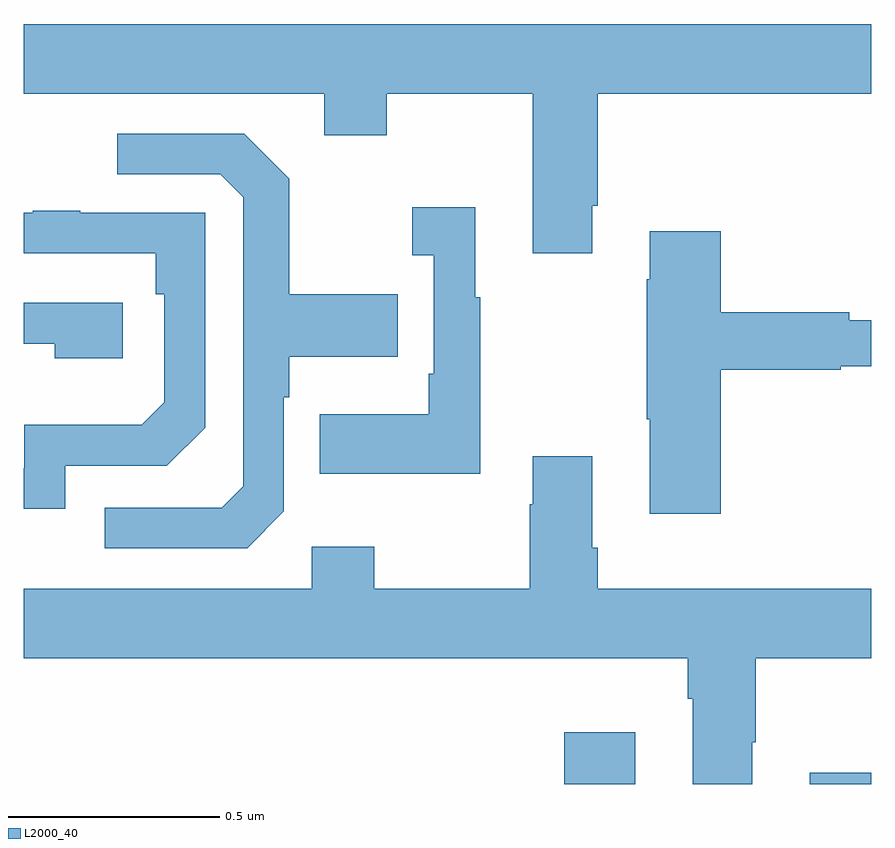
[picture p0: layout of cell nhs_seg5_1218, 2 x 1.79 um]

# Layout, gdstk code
import gdstk
lib = gdstk.Library(unit=1e-6, precision=1e-09)
def R(c, l, rs):  # rectangles x0, y0, x1, y1
    for r in rs: c.add(gdstk.rectangle(r[:2], r[2:], *l))
def P(c, l, *ps):  # polygons
    for p in ps: c.add(gdstk.Polygon(p, *l))
L2000_40 = (2000, 40)

nhs_seg5_1218 = lib.new_cell('nhs_seg5_1218')
R(nhs_seg5_1218, L2000_40, [(128.276,853.799,128.443,853.921), (128.855,853.799,129,853.825)])
P(nhs_seg5_1218, L2000_40, [(128.341,855.163),(128.354,855.163),(128.354,855.428),(129,855.428),(129,855.592),(127,855.592),(127,855.428),(127.709,855.428),(127.709,855.329),(127.857,855.329),(127.857,855.428),(128.201,855.428),(128.201,855.051),(128.341,855.051)],
  [(127.614,854.442),(127.614,854.711),(127.627,854.711),(127.627,854.807),(127.883,854.807),(127.883,854.955),(127.627,854.955),(127.627,855.227),(127.521,855.333),(127.221,855.333),(127.221,855.237),(127.464,855.237),(127.518,855.183),(127.518,854.502),(127.467,854.451),(127.191,854.451),(127.191,854.355),(127.527,854.355)],
  [(128.077,854.947),(128.065,854.947),(128.065,855.16),(127.917,855.16),(127.917,855.047),(127.968,855.047),(127.968,854.767),(127.956,854.767),(127.956,854.671),(127.699,854.671),(127.699,854.531),(128.077,854.531)],
  [(127.098,854.55),(127.338,854.55),(127.428,854.64),(127.428,855.147),(127.133,855.147),(127.133,855.152),(127.021,855.152),(127.021,855.147),(127,855.147),(127,855.051),(127.312,855.051),(127.312,854.954),(127.332,854.954),(127.332,854.7),(127.279,854.647),(127.002,854.647),(127.002,854.544),(127,854.544),(127,854.448),(127.098,854.448)],
  [(128.645,854.776),(128.928,854.776),(128.928,854.784),(129,854.784),(129,854.893),(128.948,854.893),(128.948,854.912),(128.645,854.912),(128.645,855.103),(128.477,855.103),(128.477,854.99),(128.47,854.99),(128.47,854.659),(128.477,854.659),(128.477,854.436),(128.645,854.436)],
  [(127.234,854.934),(127,854.934),(127,854.838),(127.073,854.838),(127.073,854.804),(127.234,854.804)],
  [(128.719,853.897),(128.727,853.897),(128.727,854.096),(129,854.096),(129,854.26),(128.354,854.26),(128.354,854.356),(128.341,854.356),(128.341,854.572),(128.201,854.572),(128.201,854.459),(128.194,854.459),(128.194,854.26),(127.827,854.26),(127.827,854.359),(127.68,854.359),(127.68,854.26),(127,854.26),(127,854.096),(128.567,854.096),(128.567,854),(128.579,854),(128.579,853.799),(128.719,853.799)])

lib.write_gds('nhs_seg5_1218.gds')
